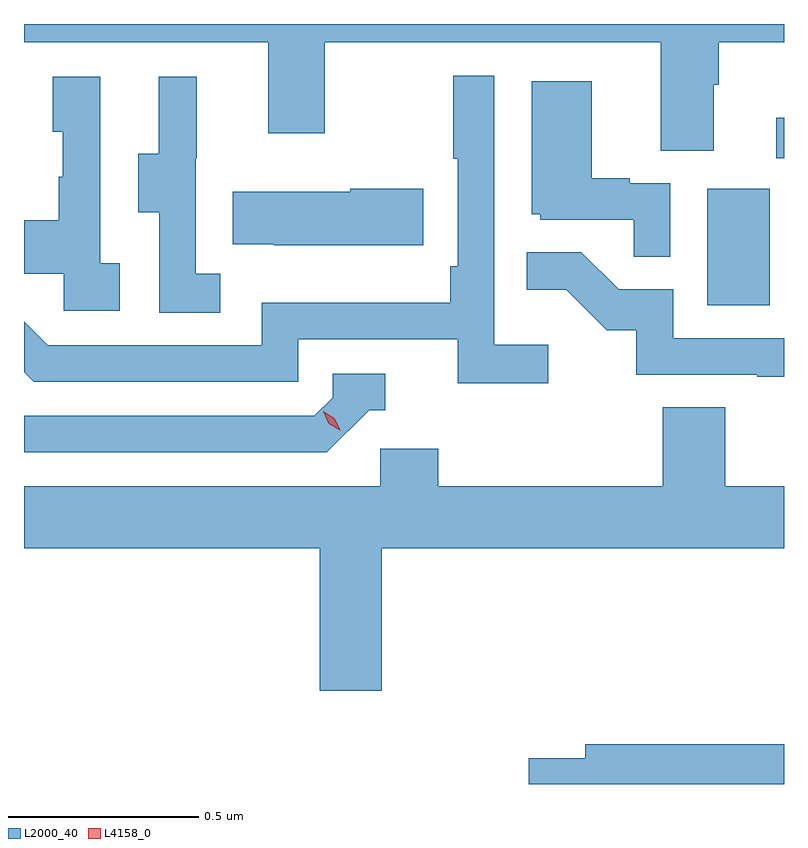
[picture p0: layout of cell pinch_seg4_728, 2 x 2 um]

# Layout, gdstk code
import gdstk
lib = gdstk.Library(unit=1e-6, precision=1e-09)
def R(c, l, rs):  # rectangles x0, y0, x1, y1
    for r in rs: c.add(gdstk.rectangle(r[:2], r[2:], *l))
def P(c, l, *ps):  # polygons
    for p in ps: c.add(gdstk.Polygon(p, *l))
L2000_40 = (2000, 40)
L4158_0 = (4158, 0)

pinch_seg4_728 = lib.new_cell('pinch_seg4_728')
R(pinch_seg4_728, L2000_40, [(849.344,826.764,849.508,827.071), (849.525,827.151,849.546,827.257)])
P(pinch_seg4_728, L2000_40, [(847.546,827.456),(848.189,827.456),(848.189,827.217),(848.337,827.217),(848.337,827.456),(849.221,827.456),(849.221,827.17),(849.361,827.17),(849.361,827.344),(849.374,827.344),(849.374,827.456),(849.546,827.456),(849.546,827.504),(847.546,827.504)],
  [(848.926,826.66),(848.784,826.66),(848.784,827.368),(848.676,827.368),(848.676,827.149),(848.688,827.149),(848.688,826.867),(848.668,826.867),(848.668,826.771),(848.172,826.771),(848.172,826.659),(847.608,826.659),(847.546,826.721),(847.546,826.588),(847.571,826.563),(848.268,826.563),(848.268,826.674),(848.687,826.674),(848.687,826.558),(848.926,826.558)],
  [(847.798,826.874),(847.746,826.874),(847.746,827.365),(847.622,827.365),(847.622,827.22),(847.648,827.22),(847.648,827.102),(847.638,827.102),(847.638,826.987),(847.546,826.987),(847.546,826.847),(847.65,826.847),(847.65,826.749),(847.798,826.749)],
  [(848.062,826.847),(847.998,826.847),(847.998,827.151),(848,827.151),(848,827.365),(847.901,827.365),(847.901,827.163),(847.847,827.163),(847.847,827.008),(847.902,827.008),(847.902,826.744),(848.062,826.744)],
  [(849.246,827.085),(849.14,827.085),(849.14,827.098),(849.04,827.098),(849.04,827.353),(848.882,827.353),(848.882,827.004),(848.904,827.004),(848.904,826.989),(849.151,826.989),(849.151,826.891),(849.246,826.891)],
  [(848.596,827.07),(848.405,827.07),(848.405,827.062),(848.095,827.062),(848.095,826.925),(848.203,826.925),(848.203,826.922),(848.596,826.922)],
  [(849.546,826.677),(849.255,826.677),(849.255,826.806),(849.111,826.806),(849.013,826.904),(848.869,826.904),(848.869,826.805),(848.973,826.805),(849.08,826.698),(849.157,826.698),(849.157,826.581),(849.475,826.581),(849.475,826.576),(849.546,826.576)],
  [(848.454,826.488),(848.497,826.488),(848.497,826.584),(848.358,826.584),(848.358,826.521),(848.31,826.473),(847.546,826.473),(847.546,826.377),(848.343,826.377)],
  [(848.488,826.124),(849.546,826.124),(849.546,826.288),(849.392,826.288),(849.392,826.496),(849.227,826.496),(849.227,826.288),(848.636,826.288),(848.636,826.386),(848.484,826.386),(848.484,826.288),(847.546,826.288),(847.546,826.124),(848.324,826.124),(848.324,825.75),(848.488,825.75)],
  [(849.546,825.608),(849.023,825.608),(849.023,825.572),(848.874,825.572),(848.874,825.504),(849.546,825.504)])
P(pinch_seg4_728, L4158_0, [(848.379,826.433),(848.348,826.452),(848.333,826.485),(848.333,826.485),(848.333,826.485),(848.363,826.466),(848.379,826.433),(848.379,826.433)])

lib.write_gds('pinch_seg4_728.gds')
